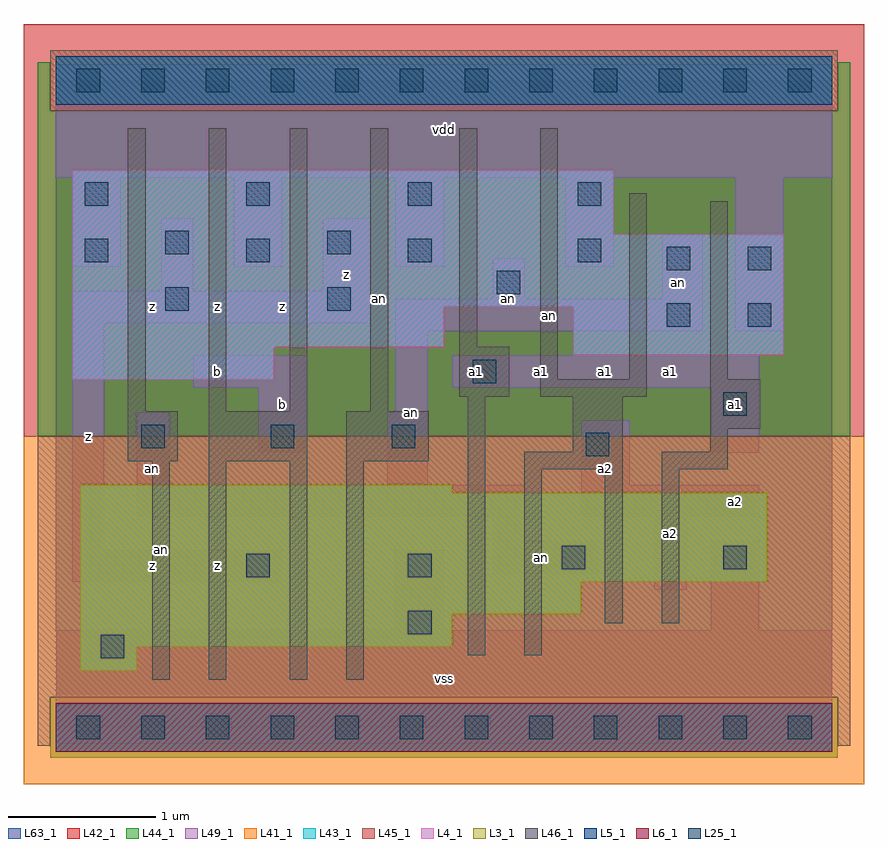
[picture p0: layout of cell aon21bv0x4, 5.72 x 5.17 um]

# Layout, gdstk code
import gdstk
lib = gdstk.Library(unit=1e-6, precision=1e-09)
def R(c, l, rs):  # rectangles x0, y0, x1, y1
    for r in rs: c.add(gdstk.rectangle(r[:2], r[2:], *l))
def A(c, l, x, y, w, h, nx, ny, dx, dy):  # array of equal rectangles
    R(c, l, [(x+i*dx, y+j*dy, x+i*dx+w, y+j*dy+h) for i in range(nx) for j in range(ny)])
L3_1 = (3, 1)
L4_1 = (4, 1)
L5_1 = (5, 1)
L6_1 = (6, 1)
L25_1 = (25, 1)
L41_1 = (41, 1)
L42_1 = (42, 1)
L43_1 = (43, 1)
L44_1 = (44, 1)
L45_1 = (45, 1)
L46_1 = (46, 1)
L49_1 = (49, 1)
L63_1 = (63, 1)

aon21bv0x4 = lib.new_cell('aon21bv0x4')
R(aon21bv0x4, L3_1, [(0.165,0.385,0.55,0.55), (0.165,0.55,2.695,0.77), (0.165,0.77,3.575,0.99), (0.165,0.99,4.84,1.595), (0.165,1.595,2.695,1.65)])
R(aon21bv0x4, L4_1, [(0.11,2.365,1.485,2.585), (3.52,2.53,4.95,2.86), (0.11,2.585,2.64,2.86), (0.11,2.86,4.95,3.355), (0.11,3.355,3.795,3.795)])
R(aon21bv0x4, L5_1, [(0,4.235,5.28,4.565)])
R(aon21bv0x4, L6_1, [(0,-0.165,5.28,0.165)])
A(aon21bv0x4, L25_1, 0.14, -0.08, 0.16, 0.16, 12, 2, 0.44, 4.4)
A(aon21bv0x4, L25_1, 0.195, 3.165, 0.16, 0.16, 3, 2, 1.1, 0.385)
R(aon21bv0x4, L25_1, [(0.305,0.47,0.465,0.63), (2.395,0.635,2.555,0.795), (1.295,1.02,1.455,1.18), (2.395,1.02,2.555,1.18), (3.44,1.075,3.6,1.235), (4.54,1.075,4.7,1.235), (3.605,1.845,3.765,2.005), (0.58,1.9,0.74,2.06), (1.46,1.9,1.62,2.06), (2.285,1.9,2.445,2.06), (4.54,2.12,4.7,2.28), (2.835,2.34,2.995,2.5), (4.155,2.725,4.315,2.885), (4.705,2.725,4.865,2.885), (0.745,2.835,0.905,2.995), (1.845,2.835,2.005,2.995), (3,2.945,3.16,3.105), (4.155,3.11,4.315,3.27), (4.705,3.11,4.865,3.27), (3.55,3.165,3.71,3.325), (0.745,3.22,0.905,3.38), (1.845,3.22,2.005,3.38), (3.55,3.55,3.71,3.71)])
R(aon21bv0x4, L41_1, [(-0.22,-0.385,5.5,1.98)])
R(aon21bv0x4, L42_1, [(-0.22,1.98,5.5,4.785)])
R(aon21bv0x4, L43_1, [(0,-0.165,5.28,0.165), (0.165,0.385,0.55,0.55), (0.165,0.55,2.695,0.77), (0.165,0.77,3.575,0.99), (0.165,0.99,4.84,1.595), (0.165,1.595,2.695,1.65), (0.11,2.365,1.485,2.585), (3.52,2.53,4.95,2.86), (0.11,2.585,2.64,2.86), (0.11,2.86,4.95,3.355), (0.11,3.355,3.795,3.795), (0,4.235,5.28,4.565)])
R(aon21bv0x4, L44_1, [(-0.04,-0.205,5.32,0.205), (-0.125,1.98,5.405,4.195), (-0.125,4.195,-0.04,4.525), (5.32,4.195,5.405,4.525)])
R(aon21bv0x4, L45_1, [(-0.125,-0.125,-0.04,0.205), (5.32,-0.125,5.405,0.205), (-0.125,0.205,5.405,1.98), (-0.04,4.195,5.32,4.605)])
A(aon21bv0x4, L46_1, 0.49, 2.15, 0.12, 1.925, 4, 1, 0.55, 0)
R(aon21bv0x4, L46_1, [(0.655,0.325,0.775,1.81), (1.04,0.325,1.16,1.81), (1.59,0.325,1.71,1.81), (1.975,0.325,2.095,1.81), (2.8,0.49,2.92,2.25), (3.185,0.49,3.305,1.755), (3.735,0.71,3.855,1.755), (4.12,0.71,4.24,1.755), (3.185,1.755,3.855,1.875), (4.12,1.755,4.57,1.875), (0.49,1.81,0.83,2.15), (1.04,1.81,1.71,2.15), (1.975,1.81,2.535,2.15), (3.515,1.875,3.855,2.25), (4.45,1.875,4.57,2.03), (4.45,2.03,4.79,2.37), (2.745,2.25,3.085,2.59), (3.295,2.25,4.02,2.37), (3.295,2.37,3.415,4.075), (3.9,2.37,4.02,3.635), (4.45,2.37,4.57,3.58), (2.745,2.59,2.865,4.075)])
A(aon21bv0x4, L49_1, 0.11, 3.135, 0.33, 0.605, 3, 1, 1.1, 0)
R(aon21bv0x4, L49_1, [(0,-0.11,5.28,0.66), (2.31,0.66,2.64,1.21), (4.455,0.66,4.785,1.265), (4.07,0.935,4.29,1.43), (0.11,0.99,1.54,1.21), (2.97,1.045,3.685,1.265), (0.11,1.21,0.33,2.75), (2.97,1.265,3.19,1.43), (0.55,1.43,3.19,1.65), (3.575,1.43,4.785,1.65), (0.55,1.65,0.77,2.145), (2.255,1.65,2.53,2.145), (3.575,1.65,3.905,2.09), (1.375,1.87,1.705,2.31), (4.455,1.87,4.785,2.31), (2.31,2.145,2.53,2.695), (0.935,2.31,1.705,2.53), (2.695,2.31,4.785,2.53), (2.31,2.695,4.4,2.915), (4.62,2.695,4.95,3.74), (0.11,2.75,2.145,2.97), (2.97,2.915,3.19,3.19), (4.125,2.915,4.4,3.355), (0.715,2.97,0.935,3.465), (1.815,2.97,2.145,3.465), (3.465,3.135,3.795,3.74), (0,3.74,5.28,4.51)])
R(aon21bv0x4, L63_1, [(0,0,5.28,4.4)])
aon21bv0x4.add(gdstk.Label('an', (0.715,1.21), layer=46, texttype=1))
aon21bv0x4.add(gdstk.Label('an', (2.2,2.915), layer=46, texttype=1))
aon21bv0x4.add(gdstk.Label('z', (0.66,1.1), layer=49, texttype=1))
aon21bv0x4.add(gdstk.Label('an', (0.66,1.76), layer=49, texttype=1))
aon21bv0x4.add(gdstk.Label('z', (0.22,1.98), layer=49, texttype=1))
aon21bv0x4.add(gdstk.Label('z', (0.66,2.86), layer=49, texttype=1))
aon21bv0x4.add(gdstk.Label('z', (1.1,1.1), layer=49, texttype=1))
aon21bv0x4.add(gdstk.Label('b', (1.1,2.42), layer=49, texttype=1))
aon21bv0x4.add(gdstk.Label('b', (1.54,2.2), layer=49, texttype=1))
aon21bv0x4.add(gdstk.Label('z', (1.54,2.86), layer=49, texttype=1))
aon21bv0x4.add(gdstk.Label('z', (1.1,2.86), layer=49, texttype=1))
aon21bv0x4.add(gdstk.Label('vss', (2.64,0.33), layer=49, texttype=1))
aon21bv0x4.add(gdstk.Label('a1', (2.86,2.42), layer=49, texttype=1))
aon21bv0x4.add(gdstk.Label('an', (3.08,2.915), layer=49, texttype=1))
aon21bv0x4.add(gdstk.Label('an', (2.42,2.145), layer=49, texttype=1))
aon21bv0x4.add(gdstk.Label('z', (1.98,3.08), layer=49, texttype=1))
aon21bv0x4.add(gdstk.Label('vdd', (2.64,4.07), layer=49, texttype=1))
aon21bv0x4.add(gdstk.Label('an', (3.3,1.155), layer=49, texttype=1))
aon21bv0x4.add(gdstk.Label('a2', (4.18,1.32), layer=49, texttype=1))
aon21bv0x4.add(gdstk.Label('a2', (3.74,1.76), layer=49, texttype=1))
aon21bv0x4.add(gdstk.Label('a1', (3.3,2.42), layer=49, texttype=1))
aon21bv0x4.add(gdstk.Label('a1', (3.74,2.42), layer=49, texttype=1))
aon21bv0x4.add(gdstk.Label('a1', (4.18,2.42), layer=49, texttype=1))
aon21bv0x4.add(gdstk.Label('a2', (4.62,1.54), layer=49, texttype=1))
aon21bv0x4.add(gdstk.Label('a1', (4.62,2.2), layer=49, texttype=1))
aon21bv0x4.add(gdstk.Label('an', (4.235,3.025), layer=49, texttype=1))
aon21bv0x4.add(gdstk.Label('an', (3.355,2.805), layer=49, texttype=1))

lib.write_gds('aon21bv0x4.gds')
